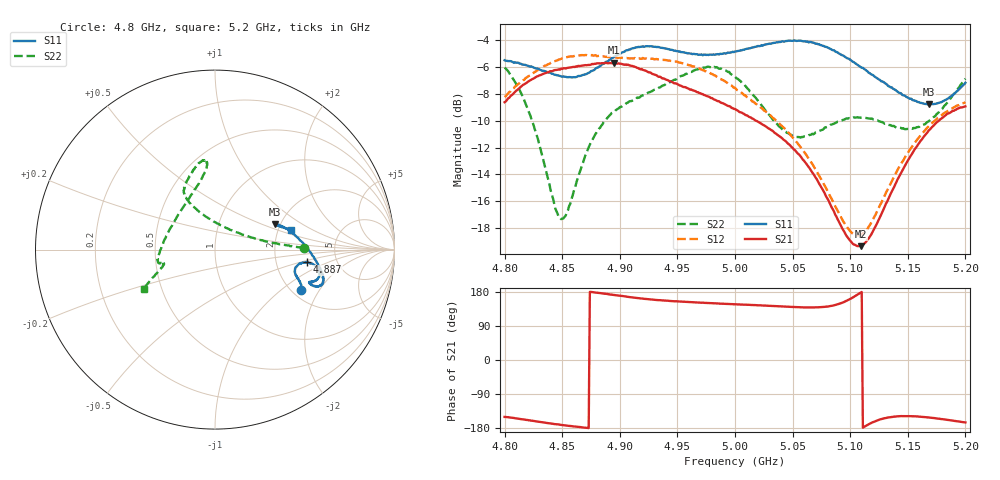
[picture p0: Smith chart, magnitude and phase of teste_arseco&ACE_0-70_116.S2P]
! Network Analyzer HP8722D
! Hewlett-Packard
! Data name: Linha & Wilkinson
! Saver's name: Rodrigo Anjos
! Comments: Teste da utilização de aquisição
! continua pelo VNA HP8722D
! Time and date: 8/5/2025 13:43
!  Frequency  S11  S21  S12  S22
# HZ  S  MA R 50
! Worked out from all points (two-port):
!   401 points, 4.8 GHz to 5.2 GHz, reference 50 ohm
!   highest |S21| = -5.66 dB at 4.895 GHz (marker M1); lowest = -19.3 dB at 5.109 GHz (marker M2)
!   |S21| within 3 dB of the highest: start of sweep to 4.988 GHz
!   lowest |S11| = -8.8 dB at 5.168 GHz (marker M3), VSWR 2.15, Z = 94.2 + j30.4 ohm
!   |S11| at or under -10 dB: nowhere
!   |S22| runs from -17.3 to -6.0 dB; largest |S21 - S12| = 1.1
!   S11 on the Smith chart (normalised r, x): 4.8 GHz: 2.24, -1.41; 4.887 GHz: 3.04, -0.59; 5.2 GHz: 2.35, +0.64
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4.8e9  0.5315 -25.2  0.3707 -150.2  0.3876 9.4  0.4987 1.2
4.811e9  0.521 -22.5  0.4118 -154.5  0.43 7.8  0.4268 2.7
4.822e9  0.5032 -20.6  0.4474 -159.3  0.4664 6.0  0.3335 6.1
4.843e9  0.4699 -17.5  0.4877 -169.0  0.5263 2.9  0.1556 37.9
4.848e9  0.4646 -16.4  0.4902 -170.9  0.5359 1.9  0.1377 57.7
4.855e9  0.4597 -14.5  0.4983 -173.5  0.5473 0.9  0.1468 85.9
4.867e9  0.467 -11.1  0.5073 -177.5  0.5555 -0.9  0.2145 110.5
4.887e9  0.5196 -7.8  0.5187 174.8  0.5482 -2.1  0.3165 119.0
4.895e9  0.548 -8.3  0.521 171.6  0.5432 -1.9  0.3405 119.2
4.914e9  0.5937 -11.8  0.5009 164.0  0.5385 -1.5  0.3807 116.5
4.934e9  0.5951 -16.1  0.4611 157.8  0.5364 -2.5  0.4202 110.8
4.975e9  0.5562 -19.3  0.3917 150.6  0.4832 -6.0  0.5006 98.0
5e9  0.5727 -19.9  0.3501 147.0  0.4198 -6.1  0.462 95.8
5.043e9  0.624 -18.1  0.2672 141.0  0.2961 2.0  0.2901 130.3
5.067e9  0.6189 -13.7  0.2033 138.6  0.2186 9.0  0.2828 165.0
5.096e9  0.5451 -3.7  0.1194 155.0  0.1292 35.4  0.3217 -171.8
5.109e9  0.5023 2.5  0.1078 177.9  0.1188 60.8  0.3247 -167.6
5.118e9  0.4715 7.0  0.1186 -166.5  0.1313 77.5  0.3219 -166.7
5.134e9  0.4243 14.7  0.165 -151.1  0.1807 94.6  0.3046 -166.0
5.152e9  0.3819 20.9  0.2322 -148.2  0.2472 100.5  0.2963 -164.4
5.168e9  0.3643 22.6  0.2904 -151.8  0.3012 101.5  0.3144 -161.1
5.2e9  0.438 14.5  0.3579 -164.9  0.3709 101.8  0.4541 -151.1
